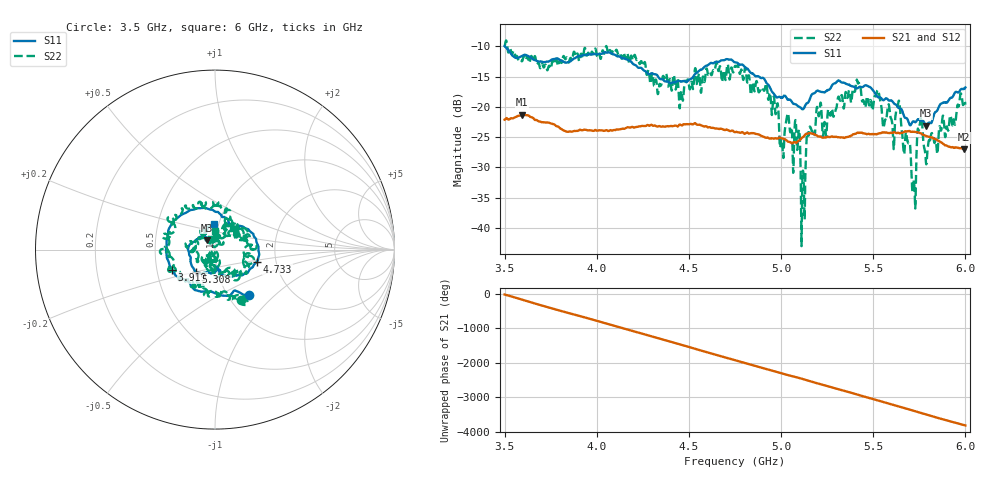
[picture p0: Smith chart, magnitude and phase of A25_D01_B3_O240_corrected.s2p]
! Created with skrf 1.9.0 (http://scikit-rf.org).
# Hz S RI R 50.0
!freq ReS11 ImS11 ReS21 ImS21 ReS12 ImS12 ReS22 ImS22
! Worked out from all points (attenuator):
!   1601 points, 3.5 GHz to 6 GHz, reference 50 ohm
!   highest |S21| = -21.33 dB at 3.592 GHz (marker M1); lowest = -27.0 dB at 5.992 GHz (marker M2)
!   lowest |S11| = -23.1 dB at 5.787 GHz (marker M3), VSWR 1.15, Z = 45.5 + j4.91 ohm
!   |S11| at or under -10 dB: 3.501 GHz to end of sweep
!   |S22| runs from -43.0 to -9.0 dB; largest |S21 - S12| = 0.0012
!   S11 on the Smith chart (normalised r, x): 3.5 GHz: 1.25, -0.70; 3.919 GHz: 0.60, -0.15; 4.733 GHz: 1.60, -0.22; 5.308 GHz: 0.79, -0.20; 6 GHz: 0.95, +0.28
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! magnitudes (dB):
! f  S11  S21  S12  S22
! 3.5 GHz  -10.0  -22.1  -22.1  -10.1
! 3.592 GHz  -11.6  -21.3  -21.4  -12.4
! 3.917 GHz  -11.6  -23.9  -23.9  -11.2
! 3.919 GHz  -11.6  -23.9  -23.9  -11.4
! 4.334 GHz  -15.1  -23.2  -23.2  -17.5
! 4.733 GHz  -12.2  -23.9  -23.9  -13.5
! 4.75 GHz  -12.7  -24.2  -24.1  -13.3
! 4.928 GHz  -16.3  -25.1  -25.1  -18.4
! 5.003 GHz  -18.5  -25.2  -25.3  -25.3
! 5.088 GHz  -19.8  -25.8  -25.8  -27.1
! 5.119 GHz  -20.4  -25.0  -25.0  -30.6
! 5.147 GHz  -19.3  -24.4  -24.4  -24.6
! 5.167 GHz  -17.9  -24.4  -24.4  -24.1
! 5.308 GHz  -15.7  -25.0  -25.0  -18.6
! 5.419 GHz  -16.8  -24.3  -24.3  -16.0
! 5.584 GHz  -19.0  -24.3  -24.3  -19.6
! 5.639 GHz  -20.2  -24.3  -24.3  -19.0
! 5.719 GHz  -22.4  -24.1  -24.1  -32.5
! 5.752 GHz  -22.2  -24.3  -24.3  -23.0
! 5.787 GHz  -23.1  -24.8  -24.8  -29.5
! 5.992 GHz  -17.1  -27.0  -27.0  -19.2
! 6 GHz  -16.8  -27.0  -27.0  -19.6
